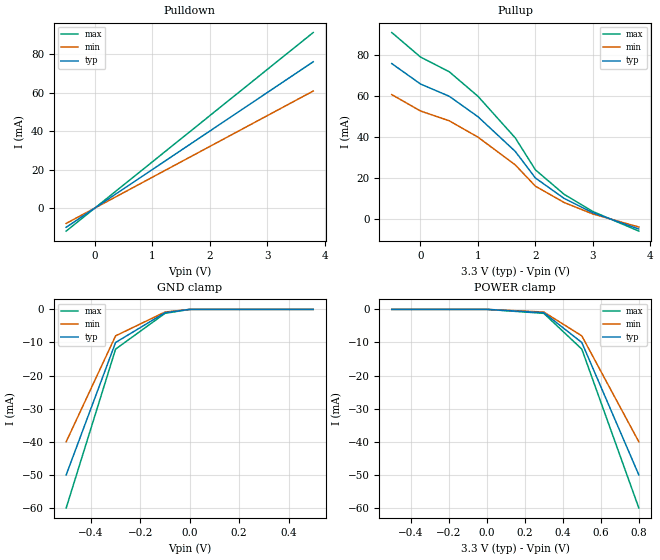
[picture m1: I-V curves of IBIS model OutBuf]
| Simple buffer fixture for kerf-silicon IBIS tests
| 1 component, 1 pin, 1 Output model with 3.3 V supply
| Pulldown table: linear 0..3.3 V, 0..66 mA (R_pd ≈ 50 Ω)
| Ramp: dV/dt_r ≈ 1.98V/0.2ns = 9.9e9 V/s (fast DDR-class output)
[IBIS Ver]   7.1
[File Name]  simple_buffer.ibs
[File Rev]   1.0
[Date]   2026-05-30
[Source]   kerf-silicon test fixture
[Disclaimer] Engineering approximation. NOT silicon-measured. NOT IBIS-certified.
[Component]  TestBuffer
[Manufacturer]  Kerf Test
[Pin]  signal_name   model_name
A1   DQ   OutBuf
| Models and submodels in the file (1): OutBuf (Output)
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[Model]   OutBuf
Model_type   Output
[Voltage Range]   3.3   3.0   3.6
[C_comp]   2p   1p   3p
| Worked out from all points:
|   slope of the pulldown table from 0 to 0.495 V, typ, clamps not added: 50 ohm
|   slope of the pullup table from 0 to 0.495 V, typ, clamps not added: 83.3 ohm
|   GND clamp passes 1 mA (typ) near -0.10 V on its own axis
[Pulldown]
| Voltage   Typ   Min   Max
-500mV    -10mA      -8mA       -12mA
0V        0A         0A         0A
500mV     10mA       8mA        12mA
1V        20mA       16mA       24mA
1.65V     33mA       26.4mA     39.6mA
2V        40mA       32mA       48mA
2.5V      50mA       40mA       60mA
3V        60mA       48mA       72mA
3.3V      66mA       52.8mA     79.2mA
3.8V      76mA       60.8mA     91.2mA
[Pullup]
| Voltage referenced to Vcc (V_pullup = Vcc - V_out)
| At V_out=0 → V_pu_ref=3.3: full on; at V_out=3.3 → V_pu_ref=0: off
-500mV    76mA       60.8mA     91.2mA
0V        66mA       52.8mA     79.2mA
500mV     60mA       48mA       72mA
1V        50mA       40mA       60mA
1.65V     33mA       26.4mA     39.6mA
2V        20mA       16mA       24mA
2.5V      10mA       8mA        12mA
3V        3mA        2.4mA      3.6mA
3.3V      0A         0A         0A
3.8V      -5mA       -4mA       -6mA
[GND_clamp]
| Clamping diode to GND
-500mV    -50mA      -40mA      -60mA
-300mV    -10mA      -8mA       -12mA
-100mV    -1mA       -800uA     -1.2mA
0V        0A         0A         0A
500mV     0A         0A         0A
[POWER_clamp]
| Clamping diode to Vcc
-500mV    0A         0A         0A
0V        0A         0A         0A
300mV     -1mA       -800uA     -1.2mA
500mV     -10mA      -8mA       -12mA
800mV     -50mA      -40mA      -60mA
[Ramp]
R_load   50
dV/dt_r   1.980/200p   1.584/200p   2.376/200p
dV/dt_f   1.980/200p   1.584/200p   2.376/200p
